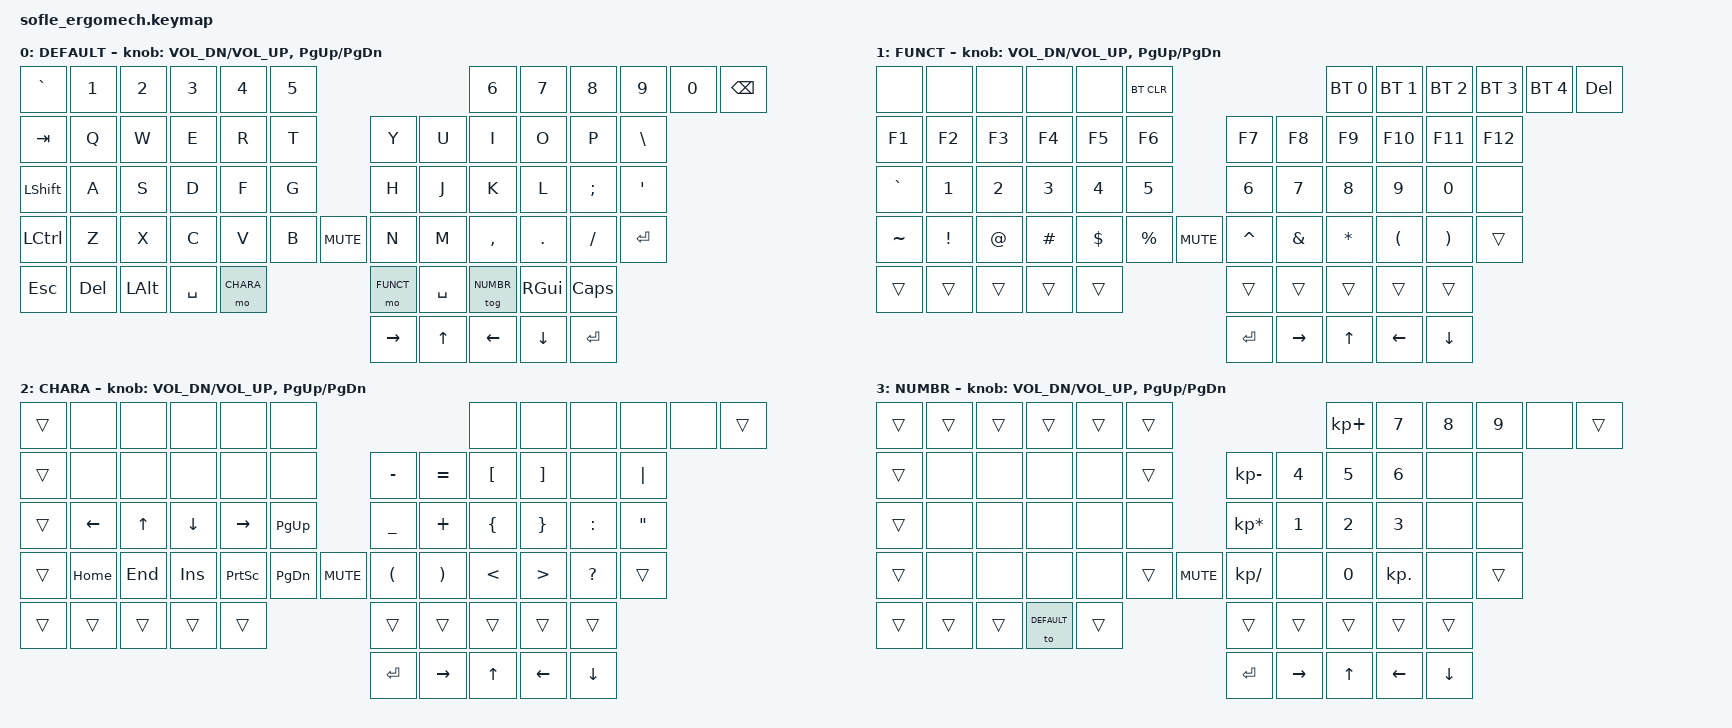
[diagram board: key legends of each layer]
/*
 * Copyright (c) 2020 The ZMK Contributors
 *
 * SPDX-License-Identifier: MIT
 */
#include <behaviors.dtsi>
#include <dt-bindings/zmk/keys.h>
#include <dt-bindings/zmk/bt.h>
#include <dt-bindings/zmk/rgb.h>
#include <dt-bindings/zmk/ext_power.h>
#define DEFAULT 0
#define FUNCT 1
#define CHARA 2
#define NUMBR 3
/ {
   // Activate DEFAULT layer by pressing CHAR and FUNC
    conditional_layers {
        compatible = "zmk,conditional-layers";
        adjust_layer {
            if-layers = <CHARA FUNCT>;
            then-layer = <DEFAULT>;
        };
    };
    keymap {
        compatible = "zmk,keymap";
        DEFAULT {
            label = "DEFAULT";
// ------------------------------------------------------------------------------------------------------------
// |   `   |  1  |  2  |  3   |  4   |  5   |                   |  6   |  7    |  8    |  9   |   0   | BSPC      |
// | TAB  |  Q  |  W  |  E   |  R   |  T   |                   |  Y   |  U    |  I    |  O   |   P   | \ |
// | SHFT  |  A  |  S  |  D   |  F   |  G   |                   |  H   |  J    |  K    |  L   |   ;   |   '   |
// | CTRL |  Z  |  X  |  C   |  V   |  B   |  MUTE  |  |       |  N   |  M    |  ,    |  .   |   /   | SHIFT |
//               | DEL | ESC  | ALT  | SPACE | CHARACTER |  | NUMBER | SPACE | ALT  |  ?  | ?  |
            bindings = <
&kp GRAVE &kp N1 &kp N2  &kp N3 &kp N4 &kp N5                               &kp N6 &kp N7 &kp N8 &kp N9 &kp N0 &kp BSPC
&kp TAB &kp Q &kp W &kp E &kp R &kp T                                       &kp Y &kp U &kp I &kp O &kp P &kp BSLH
&kp LSHFT &kp A &kp S &kp D &kp F &kp G                                     &kp H  &kp J &kp K &kp L &kp SEMI &kp SQT
&kp LCTRL &kp Z  &kp X &kp C &kp V &kp B               &kp C_MUTE          &kp N &kp M &kp COMMA &kp DOT &kp FSLH &kp ENTER
&kp ESC &kp DEL &kp LALT &kp SPACE &mo CHARA                                &mo FUNCT &kp SPACE &tog NUMBR &kp RGUI &kp CAPS
                                                                            &kp RIGHT &kp UP &kp LEFT &kp DOWN &kp ENTER
            >;
            sensor-bindings = <&inc_dec_kp C_VOL_DN C_VOL_UP &inc_dec_kp PG_UP PG_DN>;
        };
        FUNCT {
            label = "FUNCT";
// TODO: Some binds are waiting for shifted keycode support.
// ------------------------------------------------------------------------------------------------------------
// |       |  =  |  -  |  +   |  {   |  }   |                   |  [   |  ]    |  ;    |  :   |   \   |       |
// |   `   |  1  |  2  |  3   |  4   |  5   |                   |  6   |  7    |  8    |  9   |   0   |       |
// |       |  !  |  @  |  #   |  $   |  %   |                   |  ^   |  &    |  *    |  (   |   )   |   |   |
// |   F1  |  F2 |  F3 |  F4  |  F5  |  F6  |        |  |       |  F7  |  F8   |  F9   |  F10  |  F11 |  F12  |
//               |     |      |      |      |        |  |       |      |       |       |      |
            bindings = <
&none &none  &none &none &none &bt BT_CLR                                               &bt BT_SEL 0  &bt BT_SEL 1  &bt BT_SEL 2  &bt BT_SEL 3  &bt BT_SEL 4 &kp DEL
&kp F1    &kp F2    &kp F3      &kp F4    &kp F5    &kp F6                              &kp F7   &kp F8    &kp F9    &kp F10   &kp F11 &kp F12
&kp GRAVE &kp N1    &kp N2    &kp N3      &kp N4    &kp N5                              &kp N6    &kp N7   &kp N8    &kp N9    &kp N0    &none 
&kp TILDE &kp EXCL  &kp AT    &kp HASH    &kp DLLR  &kp PRCNT    &kp C_MUTE             &kp CARET &kp AMPS &kp ASTERISK &kp LPAR  &kp RPAR  &trans
&trans    &trans    &trans    &trans      &trans                                        &trans  &trans  &trans    &trans    &trans   
                                                                                        &kp ENTER  &kp RIGHT  &kp UP_ARROW  &kp LEFT  &kp DOWN
            >;
            sensor-bindings = <&inc_dec_kp C_VOL_DN C_VOL_UP &inc_dec_kp PG_UP PG_DN>;
        };
        CHARA {
            label = "CHARA";
// ------------------------------------------------------------------------------------------------------------
// | BTCLR | BT1  | BT2  |  BT3  |  BT4  |  BT5 |                |      |      |       |      |       |       |
// |       | INS  | PSCR | GUI   |       |      |                | PGUP |      |   ^   |      |       |       |
// |       | ALT  | CTRL | SHIFT |       | CAPS |                | PGDN |   <- |   v   |  ->  |  DEL  | BKSPC |
// |       | UNDO | CUT  | COPY  | PASTE |      |      |  |      |      |      |       |      |       |       |
//                |      |       |       |      |      |  |      |      |      |       |      |
            bindings = <
&trans  &none     &none    &none       &none      &none                          &none      &none      &none     &none     &none       &trans
&trans  &none     &none    &none       &none      &none                            &kp MINUS  &kp EQUAL  &kp LBKT  &kp RBKT  &none       &kp PIPE
&trans  &kp LEFT  &kp UP   &kp DOWN    &kp RIGHT  &kp PG_UP                        &kp UNDER  &kp PLUS   &kp LBRC  &kp RBRC  &kp COLON   &kp DQT
&trans  &kp HOME  &kp END  &kp INS    &kp PSCRN   &kp PG_DN          &kp C_MUTE    &kp LPAR   &kp RPAR   &kp LT    &kp GT    &kp QMARK   &trans
&trans  &trans    &trans   &trans      &trans                                      &trans     &trans     &trans    &trans    &trans
                                                                                  &kp ENTER  &kp RIGHT  &kp UP_ARROW  &kp LEFT  &kp DOWN
            >;
            sensor-bindings = <&inc_dec_kp C_VOL_DN C_VOL_UP &inc_dec_kp PG_UP PG_DN>;
        };
        NUMBR {
            label = "NUMBR";
// ------------------------------------------------------------------------------------------------------------
// |     | XX?  | ?XX  |  XX?  | XXX  |  XX? |                |      |      |       |      |       |       |
// |       | XXX  | XXX | XXX   |       |      |                | PGUP |      |   ^   |      |       |       |
// |       | ALT  | CTRL | SHIFT |       | CAPS |                | PGDN |   <- |   v   |  ->  |  DEL  | BKSPC |
// |       | UNDO | CUT  | COPY  | PASTE |      |      |  |      |      |      |       |      |       |       |
//                |      |       |       |      |      |  |      |      |      |       |      |
            bindings = <
&trans    &trans  &trans   &trans   &trans  &trans                                 &kp KP_PLUS      &kp NUMBER_7    &kp NUMBER_8    &kp NUMBER_9   &none   &trans
&trans    &none   &none    &none    &none   &trans                                 &kp KP_MINUS     &kp NUMBER_4    &kp NUMBER_5    &kp NUMBER_6   &none   &none
&trans    &none   &none    &none    &none   &none                                  &kp KP_ASTERISK  &kp NUMBER_1    &kp NUMBER_2    &kp NUMBER_3   &none   &none
&trans    &none   &none    &none    &none   &trans        &kp C_MUTE               &kp KP_DIVIDE    &none           &kp NUMBER_0    &kp KP_DOT     &none   &trans
&trans    &trans  &trans  &to DEFAULT &trans                                      &trans           &trans          &trans          &trans         &trans
                                                                                   &kp ENTER  &kp RIGHT  &kp UP_ARROW  &kp LEFT  &kp DOWN
            >;
            sensor-bindings = <&inc_dec_kp C_VOL_DN C_VOL_UP &inc_dec_kp PG_UP PG_DN>;
        };
    };
};
